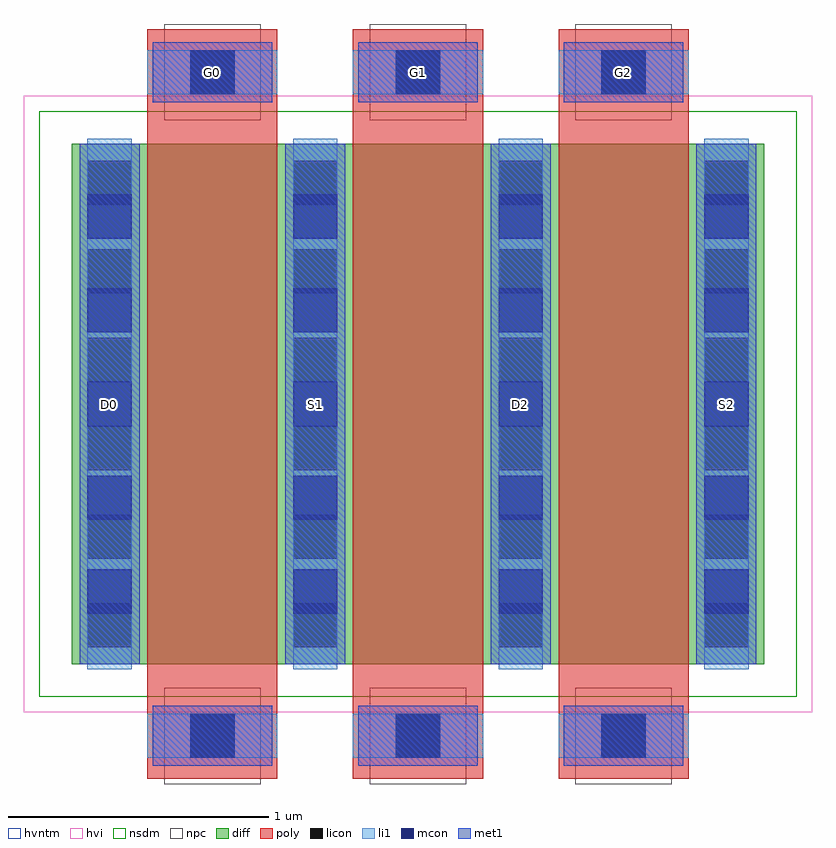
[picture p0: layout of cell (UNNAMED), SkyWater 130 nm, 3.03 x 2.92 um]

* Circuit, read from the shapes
.subckt (UNNAMED) D0 D2 G0 G1 G2 S1 S2
XM1 S1 G0 D0 VSUBS sky130_fd_pr__nfet_g5v0d10v5 w=2 l=0.5
XM2 D2 G1 S1 VSUBS sky130_fd_pr__nfet_g5v0d10v5 w=2 l=0.5
XM3 S2 G2 D2 VSUBS sky130_fd_pr__nfet_g5v0d10v5 w=2 l=0.5
.ends

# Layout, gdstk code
import gdstk
lib = gdstk.Library(unit=1e-6, precision=1e-09)
def R(c, l, rs):  # rectangles x0, y0, x1, y1
    for r in rs: c.add(gdstk.rectangle(r[:2], r[2:], *l))
def A(c, l, x, y, w, h, nx, ny, dx, dy):  # array of equal rectangles
    R(c, l, [(x+i*dx, y+j*dy, x+i*dx+w, y+j*dy+h) for i in range(nx) for j in range(ny)])
diff = (65, 20)
poly = (66, 20)
licon = (66, 44)
li1 = (67, 20)
mcon = (67, 44)
met1 = (68, 20)
hvi = (75, 20)
nsdm = (93, 44)
npc = (95, 20)
hvntm = (125, 20)

c__unnamed_ = lib.new_cell('(UNNAMED)')
R(c__unnamed_, diff, [(-1.33,-1,1.33,1)])
A(c__unnamed_, poly, -1.04, -1.44, 0.5, 2.88, 3, 1, 0.79, 0)
A(c__unnamed_, licon, -0.875, -1.36, 0.17, 0.17, 3, 2, 0.79, 2.55)
A(c__unnamed_, licon, -1.27, -0.935, 0.17, 0.17, 4, 6, 0.79, 0.34)
A(c__unnamed_, li1, -1.04, -1.36, 0.5, 0.17, 3, 2, 0.79, 2.55)
A(c__unnamed_, li1, -1.27, -1.02, 0.17, 2.04, 4, 1, 0.79, 0)
A(c__unnamed_, mcon, -0.875, -1.36, 0.17, 0.17, 3, 2, 0.79, 2.55)
A(c__unnamed_, mcon, -1.27, -0.805, 0.17, 0.17, 4, 5, 0.79, 0.36)
A(c__unnamed_, met1, -1.02, -1.39, 0.46, 0.23, 3, 2, 0.79, 2.55)
A(c__unnamed_, met1, -1.3, -1, 0.23, 2, 4, 1, 0.79, 0)
R(c__unnamed_, hvi, [(-1.515,-1.185,1.515,1.185)])
R(c__unnamed_, nsdm, [(-1.455,-1.125,1.455,1.125)])
A(c__unnamed_, npc, -0.975, -1.46, 0.37, 0.37, 3, 2, 0.79, 2.55)
R(c__unnamed_, hvntm, [(-1.515,-1.185,1.515,1.185)])
c__unnamed_.add(gdstk.Label('D0', (-1.185,0), layer=67, texttype=5))
c__unnamed_.add(gdstk.Label('G0', (-0.79,1.275), layer=67, texttype=5))
c__unnamed_.add(gdstk.Label('S1', (-0.395,0), layer=67, texttype=5))
c__unnamed_.add(gdstk.Label('G1', (0,1.275), layer=67, texttype=5))
c__unnamed_.add(gdstk.Label('D2', (0.395,0), layer=67, texttype=5))
c__unnamed_.add(gdstk.Label('S2', (1.185,0), layer=67, texttype=5))
c__unnamed_.add(gdstk.Label('G2', (0.79,1.275), layer=67, texttype=5))

lib.write_gds('_UNNAMED_.gds')
